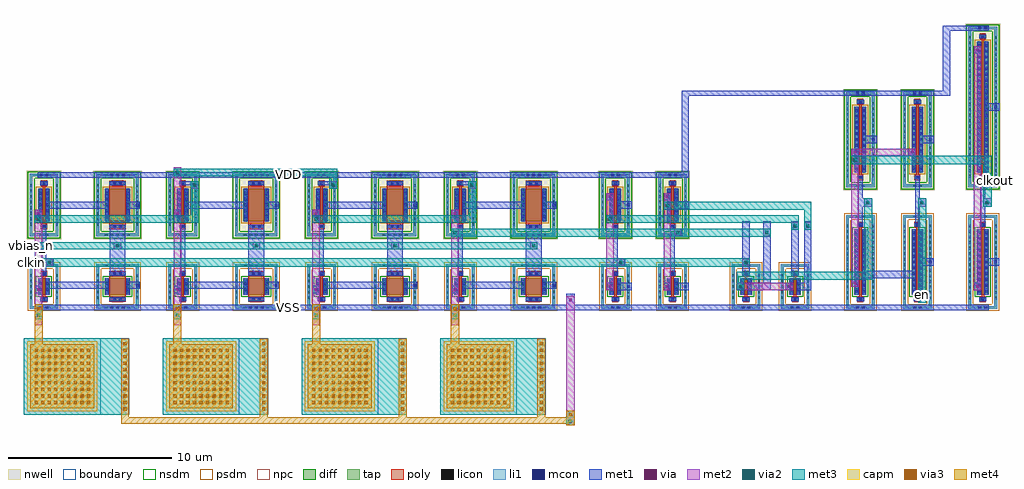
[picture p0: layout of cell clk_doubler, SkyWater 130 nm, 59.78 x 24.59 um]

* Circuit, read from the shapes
.subckt clk_doubler VDD VSS clkin clkout en vbias_n
XM1 cd_starved_inv_1/cd_n1_l1_1/D clkin cd_c40f_0/C1 VSS sky130_fd_pr__nfet_01v8 w=1 l=0.15
XM2 VSS vbias_n cd_starved_inv_1/cd_n1_l1_1/D VSS sky130_fd_pr__nfet_01v8 w=1 l=1
XM3 cd_starved_inv_3/cd_n1_l1_1/D cd_c40f_0/C1 cd_c40f_2/C1 VSS sky130_fd_pr__nfet_01v8 w=1 l=0.15
XM4 VSS vbias_n cd_starved_inv_3/cd_n1_l1_1/D VSS sky130_fd_pr__nfet_01v8 w=1 l=1
XM5 cd_starved_inv_5/cd_n1_l1_1/D cd_c40f_2/C1 cd_c40f_4/C1 VSS sky130_fd_pr__nfet_01v8 w=1 l=0.15
XM6 VSS vbias_n cd_starved_inv_5/cd_n1_l1_1/D VSS sky130_fd_pr__nfet_01v8 w=1 l=1
XM7 cd_starved_inv_7/cd_n1_l1_1/D cd_c40f_4/C1 cd_c40f_6/C1 VSS sky130_fd_pr__nfet_01v8 w=1 l=0.15
XM8 VSS vbias_n cd_starved_inv_7/cd_n1_l1_1/D VSS sky130_fd_pr__nfet_01v8 w=1 l=1
XM9 VSS clkin cd_tg2_10/gb VSS sky130_fd_pr__nfet_01v8 w=1 l=0.15
XM10 VSS cd_c40f_6/C1 cd_tg2_10/sb VSS sky130_fd_pr__nfet_01v8 w=1 l=0.15
XM11 cd_c40f_6/C1 clkin cd_nand2_11/a VSS sky130_fd_pr__nfet_01v8 w=1 l=0.15
XM12 cd_tg2_10/sb cd_tg2_10/gb cd_nand2_11/a VSS sky130_fd_pr__nfet_01v8 w=1 l=0.15
XM13 cd_nand2_11/cd_n4_l015_2/D cd_nand2_11/a cd_obuf_12/a VSS sky130_fd_pr__nfet_01v8 w=4 l=0.15
XM14 VSS en cd_nand2_11/cd_n4_l015_2/D VSS sky130_fd_pr__nfet_01v8 w=4 l=0.15
XM15 VSS cd_obuf_12/a clkout VSS sky130_fd_pr__nfet_01v8 w=4 l=0.15
XM16 cd_starved_inv_1/cd_p2_l1_0/D clkin cd_c40f_0/C1 VDD sky130_fd_pr__pfet_01v8 w=2 l=0.15
XM17 VDD vbias_n cd_starved_inv_1/cd_p2_l1_0/D VDD sky130_fd_pr__pfet_01v8 w=2 l=1
XM18 cd_starved_inv_3/cd_p2_l1_0/D cd_c40f_0/C1 cd_c40f_2/C1 VDD sky130_fd_pr__pfet_01v8 w=2 l=0.15
XM19 VDD vbias_n cd_starved_inv_3/cd_p2_l1_0/D VDD sky130_fd_pr__pfet_01v8 w=2 l=1
XM20 cd_starved_inv_5/cd_p2_l1_0/D cd_c40f_2/C1 cd_c40f_4/C1 VDD sky130_fd_pr__pfet_01v8 w=2 l=0.15
XM21 VDD vbias_n cd_starved_inv_5/cd_p2_l1_0/D VDD sky130_fd_pr__pfet_01v8 w=2 l=1
XM22 cd_starved_inv_7/cd_p2_l1_0/D cd_c40f_4/C1 cd_c40f_6/C1 VDD sky130_fd_pr__pfet_01v8 w=2 l=0.15
XM23 VDD vbias_n cd_starved_inv_7/cd_p2_l1_0/D VDD sky130_fd_pr__pfet_01v8 w=2 l=1
XM24 VDD clkin cd_tg2_10/gb VDD sky130_fd_pr__pfet_01v8 w=2 l=0.15
XM25 VDD cd_c40f_6/C1 cd_tg2_10/sb VDD sky130_fd_pr__pfet_01v8 w=2 l=0.15
XM26 VDD cd_nand2_11/a cd_obuf_12/a VDD sky130_fd_pr__pfet_01v8 w=4 l=0.15
XM27 VDD en cd_obuf_12/a VDD sky130_fd_pr__pfet_01v8 w=4 l=0.15
XM28 VDD cd_obuf_12/a clkout VDD sky130_fd_pr__pfet_01v8 w=8 l=0.15
XC29 cd_c40f_0/C1 VSS sky130_fd_pr__cap_mim_m3_1 w=4.29 l=4.29
XC30 cd_c40f_2/C1 VSS sky130_fd_pr__cap_mim_m3_1 w=4.29 l=4.29
XC31 cd_c40f_4/C1 VSS sky130_fd_pr__cap_mim_m3_1 w=4.29 l=4.29
XC32 cd_c40f_6/C1 VSS sky130_fd_pr__cap_mim_m3_1 w=4.29 l=4.29
.ends

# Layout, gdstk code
import gdstk
lib = gdstk.Library(unit=1e-6, precision=1e-09)
def R(c, l, rs):  # rectangles x0, y0, x1, y1
    for r in rs: c.add(gdstk.rectangle(r[:2], r[2:], *l))
def A(c, l, x, y, w, h, nx, ny, dx, dy):  # array of equal rectangles
    R(c, l, [(x+i*dx, y+j*dy, x+i*dx+w, y+j*dy+h) for i in range(nx) for j in range(ny)])
nwell = (64, 20)
diff = (65, 20)
tap = (65, 44)
poly = (66, 20)
licon = (66, 44)
li1 = (67, 20)
mcon = (67, 44)
met1 = (68, 20)
via = (68, 44)
met2 = (69, 20)
via2 = (69, 44)
met3 = (70, 20)
via3 = (70, 44)
met4 = (71, 20)
capm = (89, 44)
nsdm = (93, 44)
psdm = (94, 20)
npc = (95, 20)
boundary = (235, 4)

cd_c40f = lib.new_cell('cd_c40f')
R(cd_c40f, met3, [(-3.225,-2.345,3.225,2.345)])
A(cd_c40f, via3, 2.865, -2.1, 0.2, 0.2, 1, 11, 0, 0.4)
A(cd_c40f, via3, -2.58, -1.7, 0.2, 0.2, 9, 9, 0.4, 0.4)
R(cd_c40f, met4, [(2.725,-2.285,3.205,2.285), (-2.83,-1.95,1.07,1.95)])
R(cd_c40f, capm, [(-3.025,-2.145,1.265,2.145)])
R(cd_c40f, boundary, [(-3.225,-2.345,1.465,2.345)])
cd_c40f.add(gdstk.Label('C2', (2.965,0), layer=71, texttype=5))
cd_c40f.add(gdstk.Label('C1', (-0.88,0), layer=71, texttype=5))

cd_p2_l1 = lib.new_cell('cd_p2_l1')
R(cd_p2_l1, nwell, [(-1.48,-2.095,1.48,2.095)])
R(cd_p2_l1, diff, [(-0.79,-1,0.79,1)])
R(cd_p2_l1, tap, [(-1.3,-1.915,1.3,-1.745), (-1.3,-1.745,-1.13,1.745), (1.13,-1.745,1.3,1.745), (-1.3,1.745,1.3,1.915)])
R(cd_p2_l1, poly, [(-0.5,-1.485,0.5,1.485)])
A(cd_p2_l1, licon, -0.765, -1.915, 0.17, 0.17, 5, 2, 0.34, 3.66)
A(cd_p2_l1, licon, -1.3, -1.275, 0.17, 0.17, 1, 8, 0, 0.34)
A(cd_p2_l1, licon, 1.13, -1.275, 0.17, 0.17, 1, 8, 0, 0.34)
A(cd_p2_l1, licon, -0.73, -0.935, 0.17, 0.17, 1, 6, 0, 0.34)
A(cd_p2_l1, licon, 0.56, -0.935, 0.17, 0.17, 1, 6, 0, 0.34)
R(cd_p2_l1, licon, [(-0.255,-1.405,-0.085,-1.235), (0.085,-1.405,0.255,-1.235), (-0.255,1.235,-0.085,1.405), (0.085,1.235,0.255,1.405)])
R(cd_p2_l1, li1, [(-1.3,-1.915,1.3,-1.745), (-1.3,-1.745,-1.13,1.745), (1.13,-1.745,1.3,1.745), (-0.5,-1.405,0.5,-1.235), (-0.73,-1.02,-0.56,1.02), (0.56,-1.02,0.73,1.02), (-0.5,1.235,0.5,1.405), (-1.3,1.745,1.3,1.915)])
A(cd_p2_l1, mcon, -0.73, -0.805, 0.17, 0.17, 1, 5, 0, 0.36)
A(cd_p2_l1, mcon, 0.56, -0.805, 0.17, 0.17, 1, 5, 0, 0.36)
R(cd_p2_l1, mcon, [(-0.265,-1.405,-0.095,-1.235), (0.095,-1.405,0.265,-1.235), (-0.265,1.235,-0.095,1.405), (0.095,1.235,0.265,1.405)])
R(cd_p2_l1, met1, [(-0.48,-1.435,0.48,-1.205), (-0.76,-1,-0.53,1), (0.53,-1,0.76,1), (-0.48,1.205,0.48,1.435)])
R(cd_p2_l1, nsdm, [(-1.425,-2.04,1.425,-1.62), (-1.425,-1.62,-1.005,1.62), (1.005,-1.62,1.425,1.62), (-1.425,1.62,1.425,2.04)])
R(cd_p2_l1, psdm, [(-0.915,-1.125,0.915,1.125)])
R(cd_p2_l1, npc, [(-0.355,-1.505,0.355,-1.135), (-0.355,1.135,0.355,1.505)])
R(cd_p2_l1, boundary, [(-1.215,-1.83,1.215,1.83)])
cd_p2_l1.add(gdstk.Label('B', (0,-1.83), layer=67, texttype=5))
cd_p2_l1.add(gdstk.Label('D', (-0.645,0), layer=67, texttype=5))
cd_p2_l1.add(gdstk.Label('S', (0.645,0), layer=67, texttype=5))
cd_p2_l1.add(gdstk.Label('G', (0,1.32), layer=67, texttype=5))

cd_n1_l1 = lib.new_cell('cd_n1_l1')
R(cd_n1_l1, diff, [(-0.79,-0.5,0.79,0.5)])
R(cd_n1_l1, tap, [(-1.3,-1.37,1.3,-1.2), (-1.3,-1.2,-1.13,1.2), (1.13,-1.2,1.3,1.2), (-1.3,1.2,1.3,1.37)])
R(cd_n1_l1, poly, [(-0.5,-0.94,0.5,0.94)])
A(cd_n1_l1, licon, -0.765, -1.37, 0.17, 0.17, 5, 2, 0.34, 2.57)
A(cd_n1_l1, licon, -1.3, -0.765, 0.17, 0.17, 1, 5, 0, 0.34)
A(cd_n1_l1, licon, 1.13, -0.765, 0.17, 0.17, 1, 5, 0, 0.34)
A(cd_n1_l1, licon, -0.73, -0.425, 0.17, 0.17, 1, 3, 0, 0.34)
A(cd_n1_l1, licon, 0.56, -0.425, 0.17, 0.17, 1, 3, 0, 0.34)
R(cd_n1_l1, licon, [(-0.255,-0.86,-0.085,-0.69), (0.085,-0.86,0.255,-0.69), (-0.255,0.69,-0.085,0.86), (0.085,0.69,0.255,0.86)])
R(cd_n1_l1, li1, [(-1.3,-1.37,1.3,-1.2), (-1.3,-1.2,-1.13,1.2), (1.13,-1.2,1.3,1.2), (-0.5,-0.86,0.5,-0.69), (-0.73,-0.52,-0.56,0.52), (0.56,-0.52,0.73,0.52), (-0.5,0.69,0.5,0.86), (-1.3,1.2,1.3,1.37)])
R(cd_n1_l1, mcon, [(-0.265,-0.86,-0.095,-0.69), (0.095,-0.86,0.265,-0.69), (-0.73,-0.265,-0.56,-0.095), (0.56,-0.265,0.73,-0.095), (-0.73,0.095,-0.56,0.265), (0.56,0.095,0.73,0.265), (-0.265,0.69,-0.095,0.86), (0.095,0.69,0.265,0.86)])
R(cd_n1_l1, met1, [(-0.48,-0.89,0.48,-0.66), (-0.76,-0.5,-0.53,0.5), (0.53,-0.5,0.76,0.5), (-0.48,0.66,0.48,0.89)])
R(cd_n1_l1, nsdm, [(-0.915,-0.625,0.915,0.625)])
R(cd_n1_l1, psdm, [(-1.425,-1.495,1.425,-1.075), (-1.425,-1.075,-1.005,1.075), (1.005,-1.075,1.425,1.075), (-1.425,1.075,1.425,1.495)])
R(cd_n1_l1, npc, [(-0.355,-0.96,0.355,-0.59), (-0.355,0.59,0.355,0.96)])
R(cd_n1_l1, boundary, [(-1.215,-1.285,1.215,1.285)])
cd_n1_l1.add(gdstk.Label('B', (0,-1.285), layer=67, texttype=5))
cd_n1_l1.add(gdstk.Label('D', (-0.645,0), layer=67, texttype=5))
cd_n1_l1.add(gdstk.Label('S', (0.645,0), layer=67, texttype=5))
cd_n1_l1.add(gdstk.Label('G', (0,0.775), layer=67, texttype=5))

cd_n1_l015 = lib.new_cell('cd_n1_l015')
R(cd_n1_l015, diff, [(-0.365,-0.5,0.365,0.5)])
R(cd_n1_l015, tap, [(-0.875,-1.37,0.875,-1.2), (-0.875,-1.2,-0.705,1.2), (0.705,-1.2,0.875,1.2), (-0.875,1.2,0.875,1.37)])
R(cd_n1_l015, poly, [(-0.165,-0.94,0.165,-0.61), (-0.075,-0.61,0.075,0.61), (-0.165,0.61,0.165,0.94)])
A(cd_n1_l015, licon, -0.875, -0.765, 0.17, 0.17, 1, 5, 0, 0.34)
A(cd_n1_l015, licon, 0.705, -0.765, 0.17, 0.17, 1, 5, 0, 0.34)
A(cd_n1_l015, licon, -0.305, -0.425, 0.17, 0.17, 1, 3, 0, 0.34)
A(cd_n1_l015, licon, 0.135, -0.425, 0.17, 0.17, 1, 3, 0, 0.34)
R(cd_n1_l015, licon, [(-0.255,-1.37,-0.085,-1.2), (0.085,-1.37,0.255,-1.2), (-0.085,-0.86,0.085,-0.69), (-0.085,0.69,0.085,0.86), (-0.255,1.2,-0.085,1.37), (0.085,1.2,0.255,1.37)])
R(cd_n1_l015, li1, [(-0.875,-1.37,0.875,-1.2), (-0.875,-1.2,-0.705,1.2), (0.705,-1.2,0.875,1.2), (-0.165,-0.86,0.165,-0.69), (-0.305,-0.52,-0.135,0.52), (0.135,-0.52,0.305,0.52), (-0.165,0.69,0.165,0.86), (-0.875,1.2,0.875,1.37)])
R(cd_n1_l015, mcon, [(-0.085,-0.86,0.085,-0.69), (-0.305,-0.265,-0.135,-0.095), (0.135,-0.265,0.305,-0.095), (-0.305,0.095,-0.135,0.265), (0.135,0.095,0.305,0.265), (-0.085,0.69,0.085,0.86)])
R(cd_n1_l015, met1, [(-0.145,-0.89,0.145,-0.66), (-0.335,-0.5,-0.105,0.5), (0.105,-0.5,0.335,0.5), (-0.145,0.66,0.145,0.89)])
R(cd_n1_l015, nsdm, [(-0.49,-0.625,0.49,0.625)])
R(cd_n1_l015, psdm, [(-1,-1.495,1,-1.075), (-1,-1.075,-0.58,1.075), (0.58,-1.075,1,1.075), (-1,1.075,1,1.495)])
R(cd_n1_l015, npc, [(-0.185,-0.96,0.185,-0.59), (-0.185,0.59,0.185,0.96)])
R(cd_n1_l015, boundary, [(-0.79,-1.285,0.79,1.285)])
cd_n1_l015.add(gdstk.Label('B', (0,-1.285), layer=67, texttype=5))
cd_n1_l015.add(gdstk.Label('D', (-0.22,0), layer=67, texttype=5))
cd_n1_l015.add(gdstk.Label('S', (0.22,0), layer=67, texttype=5))
cd_n1_l015.add(gdstk.Label('G', (0,0.775), layer=67, texttype=5))

cd_p2_l015 = lib.new_cell('cd_p2_l015')
R(cd_p2_l015, nwell, [(-1.055,-2.095,1.055,2.095)])
R(cd_p2_l015, diff, [(-0.365,-1,0.365,1)])
R(cd_p2_l015, tap, [(-0.875,-1.915,0.875,-1.745), (-0.875,-1.745,-0.705,1.745), (0.705,-1.745,0.875,1.745), (-0.875,1.745,0.875,1.915)])
R(cd_p2_l015, poly, [(-0.165,-1.485,0.165,-1.155), (-0.075,-1.155,0.075,1.155), (-0.165,1.155,0.165,1.485)])
A(cd_p2_l015, licon, -0.875, -1.275, 0.17, 0.17, 1, 8, 0, 0.34)
A(cd_p2_l015, licon, 0.705, -1.275, 0.17, 0.17, 1, 8, 0, 0.34)
A(cd_p2_l015, licon, -0.305, -0.935, 0.17, 0.17, 1, 6, 0, 0.34)
A(cd_p2_l015, licon, 0.135, -0.935, 0.17, 0.17, 1, 6, 0, 0.34)
R(cd_p2_l015, licon, [(-0.255,-1.915,-0.085,-1.745), (0.085,-1.915,0.255,-1.745), (-0.085,-1.405,0.085,-1.235), (-0.085,1.235,0.085,1.405), (-0.255,1.745,-0.085,1.915), (0.085,1.745,0.255,1.915)])
R(cd_p2_l015, li1, [(-0.875,-1.915,0.875,-1.745), (-0.875,-1.745,-0.705,1.745), (0.705,-1.745,0.875,1.745), (-0.165,-1.405,0.165,-1.235), (-0.305,-1.02,-0.135,1.02), (0.135,-1.02,0.305,1.02), (-0.165,1.235,0.165,1.405), (-0.875,1.745,0.875,1.915)])
A(cd_p2_l015, mcon, -0.305, -0.805, 0.17, 0.17, 1, 5, 0, 0.36)
A(cd_p2_l015, mcon, 0.135, -0.805, 0.17, 0.17, 1, 5, 0, 0.36)
R(cd_p2_l015, mcon, [(-0.085,-1.405,0.085,-1.235), (-0.085,1.235,0.085,1.405)])
R(cd_p2_l015, met1, [(-0.145,-1.435,0.145,-1.205), (-0.335,-1,-0.105,1), (0.105,-1,0.335,1), (-0.145,1.205,0.145,1.435)])
R(cd_p2_l015, nsdm, [(-1,-2.04,1,-1.62), (-1,-1.62,-0.58,1.62), (0.58,-1.62,1,1.62), (-1,1.62,1,2.04)])
R(cd_p2_l015, psdm, [(-0.49,-1.125,0.49,1.125)])
R(cd_p2_l015, npc, [(-0.185,-1.505,0.185,-1.135), (-0.185,1.135,0.185,1.505)])
R(cd_p2_l015, boundary, [(-0.79,-1.83,0.79,1.83)])
cd_p2_l015.add(gdstk.Label('B', (0,-1.83), layer=67, texttype=5))
cd_p2_l015.add(gdstk.Label('D', (-0.22,0), layer=67, texttype=5))
cd_p2_l015.add(gdstk.Label('S', (0.22,0), layer=67, texttype=5))
cd_p2_l015.add(gdstk.Label('G', (0,1.32), layer=67, texttype=5))

cd_starved_inv = lib.new_cell('cd_starved_inv')
R(cd_starved_inv, li1, [(-0.3,3.13,0.3,3.3), (4,3.13,5,3.3), (5.63,4.435,5.8,4.715), (5.63,9.335,5.8,9.615), (-0.3,11.245,0.3,11.415), (4,11.245,5,11.415)])
A(cd_starved_inv, mcon, 4.055, 3.13, 0.17, 0.17, 3, 2, 0.36, 8.115)
R(cd_starved_inv, mcon, [(-0.265,3.13,-0.095,3.3), (0.095,3.13,0.265,3.3), (5.63,4.49,5.8,4.66), (5.63,9.39,5.8,9.56), (-0.265,11.245,-0.095,11.415), (0.095,11.245,0.265,11.415)])
R(cd_starved_inv, met1, [(-0.37,3.06,5.07,3.37), (-0.225,3.61,0.225,3.84), (-0.555,4.1,-0.105,4.55), (0.335,4.35,3.74,4.8), (5.03,4.35,5.87,4.8), (-0.145,5.16,0.145,8.295), (4.02,5.16,4.98,8.295), (-0.555,8.75,-0.105,9.2), (0.335,9.25,3.74,9.7), (5.03,9.25,5.87,9.7), (-0.225,10.705,0.225,10.935), (-0.37,11.175,5.07,11.485)])
R(cd_starved_inv, via, [(-0.405,4.25,-0.255,4.4), (-0.405,8.9,-0.255,9.05)])
R(cd_starved_inv, met2, [(-0.555,4.1,-0.105,9.2)])
cd_starved_inv.add(gdstk.Reference(cd_p2_l1, (4.5,9.5)))
cd_starved_inv.add(gdstk.Reference(cd_n1_l1, (4.5,4.5)))
cd_starved_inv.add(gdstk.Reference(cd_n1_l015, (0,4.5)))
cd_starved_inv.add(gdstk.Reference(cd_p2_l015, (0,9.5)))
cd_starved_inv.add(gdstk.Label('a', (0,6.5), layer=68, texttype=5))
cd_starved_inv.add(gdstk.Label('y', (-0.33,6.5), layer=69, texttype=5))
cd_starved_inv.add(gdstk.Label('vbn', (4.5,6.5), layer=68, texttype=5))
cd_starved_inv.add(gdstk.Label('VDD', (2,11.33), layer=68, texttype=5))
cd_starved_inv.add(gdstk.Label('VSS', (2,3.215), layer=68, texttype=5))

cd_inv = lib.new_cell('cd_inv')
R(cd_inv, li1, [(-0.3,3.13,0.3,3.3), (0.705,4.36,0.875,4.64), (0.705,9.36,0.875,9.64), (-0.3,11.245,0.3,11.415)])
R(cd_inv, mcon, [(-0.265,3.13,-0.095,3.3), (0.095,3.13,0.265,3.3), (0.705,4.415,0.875,4.585), (0.705,9.415,0.875,9.585), (-0.265,11.245,-0.095,11.415), (0.095,11.245,0.265,11.415)])
R(cd_inv, met1, [(-0.37,3.06,0.37,3.37), (-0.225,3.61,0.225,3.84), (-0.555,4.275,-0.105,4.725), (0.105,4.275,1,4.725), (-0.145,5.16,0.145,8.295), (0.105,9.275,1,9.725), (-0.555,9.775,-0.105,10.225), (-0.225,10.705,0.225,10.935), (-0.37,11.175,0.37,11.485)])
R(cd_inv, via, [(-0.405,4.425,-0.255,4.575), (-0.405,9.925,-0.255,10.075)])
R(cd_inv, met2, [(-0.555,4.275,-0.105,10.225)])
cd_inv.add(gdstk.Reference(cd_p2_l015, (0,9.5)))
cd_inv.add(gdstk.Reference(cd_n1_l015, (0,4.5)))
cd_inv.add(gdstk.Label('a', (0,6.725), layer=68, texttype=5))
cd_inv.add(gdstk.Label('y', (-0.33,7.25), layer=69, texttype=5))
cd_inv.add(gdstk.Label('VDD', (0,11.33), layer=68, texttype=5))
cd_inv.add(gdstk.Label('VSS', (0,3.215), layer=68, texttype=5))

cd_tg2 = lib.new_cell('cd_tg2')
R(cd_tg2, li1, [(-0.3,3.13,0.3,3.3), (2.7,3.13,3.3,3.3)])
R(cd_tg2, mcon, [(-0.265,3.13,-0.095,3.3), (0.095,3.13,0.265,3.3), (2.735,3.13,2.905,3.3), (3.095,3.13,3.265,3.3)])
R(cd_tg2, met1, [(-0.37,3.06,3.395,3.37), (-0.225,3.61,0.225,3.84), (2.775,3.61,3.225,3.84), (-0.555,4.275,-0.105,4.725), (0.105,4.275,1.5,4.725), (2.445,4.275,2.895,4.725), (3.105,4.275,4,4.725), (1.05,4.725,1.5,8.5), (3.55,4.725,4,8.5), (-0.225,5.16,0.225,8.5), (2.775,5.16,3.225,8.5)])
R(cd_tg2, via, [(-0.405,4.425,-0.255,4.575), (2.595,4.425,2.745,4.575)])
R(cd_tg2, met2, [(-0.555,4.275,2.895,4.725)])
cd_tg2.add(gdstk.Reference(cd_n1_l015, (0,4.5)))
cd_tg2.add(gdstk.Reference(cd_n1_l015, (3,4.5)))
cd_tg2.add(gdstk.Label('ga', (0,7.75), layer=68, texttype=5))
cd_tg2.add(gdstk.Label('gb', (3,7.75), layer=68, texttype=5))
cd_tg2.add(gdstk.Label('y', (-0.33,4.5), layer=69, texttype=5))
cd_tg2.add(gdstk.Label('sa', (1.275,7.75), layer=68, texttype=5))
cd_tg2.add(gdstk.Label('sb', (3.775,7.75), layer=68, texttype=5))
cd_tg2.add(gdstk.Label('VSS', (1.5,3.215), layer=68, texttype=5))

cd_p4_l015 = lib.new_cell('cd_p4_l015')
R(cd_p4_l015, nwell, [(-1.055,-3.095,1.055,3.095)])
R(cd_p4_l015, diff, [(-0.365,-2,0.365,2)])
R(cd_p4_l015, tap, [(-0.875,-2.915,0.875,-2.745), (-0.875,-2.745,-0.705,2.745), (0.705,-2.745,0.875,2.745), (-0.875,2.745,0.875,2.915)])
R(cd_p4_l015, poly, [(-0.165,-2.485,0.165,-2.155), (-0.075,-2.155,0.075,2.155), (-0.165,2.155,0.165,2.485)])
A(cd_p4_l015, licon, -0.875, -2.295, 0.17, 0.17, 1, 14, 0, 0.34)
A(cd_p4_l015, licon, 0.705, -2.295, 0.17, 0.17, 1, 14, 0, 0.34)
A(cd_p4_l015, licon, -0.305, -1.785, 0.17, 0.17, 1, 11, 0, 0.34)
A(cd_p4_l015, licon, 0.135, -1.785, 0.17, 0.17, 1, 11, 0, 0.34)
R(cd_p4_l015, licon, [(-0.255,-2.915,-0.085,-2.745), (0.085,-2.915,0.255,-2.745), (-0.085,-2.405,0.085,-2.235), (-0.085,2.235,0.085,2.405), (-0.255,2.745,-0.085,2.915), (0.085,2.745,0.255,2.915)])
R(cd_p4_l015, li1, [(-0.875,-2.915,0.875,-2.745), (-0.875,-2.745,-0.705,2.745), (0.705,-2.745,0.875,2.745), (-0.165,-2.405,0.165,-2.235), (-0.305,-2.02,-0.135,2.02), (0.135,-2.02,0.305,2.02), (-0.165,2.235,0.165,2.405), (-0.875,2.745,0.875,2.915)])
A(cd_p4_l015, mcon, -0.305, -1.885, 0.17, 0.17, 1, 11, 0, 0.36)
A(cd_p4_l015, mcon, 0.135, -1.885, 0.17, 0.17, 1, 11, 0, 0.36)
R(cd_p4_l015, mcon, [(-0.085,-2.405,0.085,-2.235), (-0.085,2.235,0.085,2.405)])
R(cd_p4_l015, met1, [(-0.145,-2.435,0.145,-2.205), (-0.335,-2,-0.105,2), (0.105,-2,0.335,2), (-0.145,2.205,0.145,2.435)])
R(cd_p4_l015, nsdm, [(-1,-3.04,1,-2.62), (-1,-2.62,-0.58,2.62), (0.58,-2.62,1,2.62), (-1,2.62,1,3.04)])
R(cd_p4_l015, psdm, [(-0.49,-2.125,0.49,2.125)])
R(cd_p4_l015, npc, [(-0.185,-2.505,0.185,-2.135), (-0.185,2.135,0.185,2.505)])
R(cd_p4_l015, boundary, [(-0.79,-2.83,0.79,2.83)])
cd_p4_l015.add(gdstk.Label('B', (0,-2.83), layer=67, texttype=5))
cd_p4_l015.add(gdstk.Label('D', (-0.22,0), layer=67, texttype=5))
cd_p4_l015.add(gdstk.Label('S', (0.22,0), layer=67, texttype=5))
cd_p4_l015.add(gdstk.Label('G', (0,2.32), layer=67, texttype=5))

cd_n4_l015 = lib.new_cell('cd_n4_l015')
R(cd_n4_l015, diff, [(-0.365,-2,0.365,2)])
R(cd_n4_l015, tap, [(-0.875,-2.87,0.875,-2.7), (-0.875,-2.7,-0.705,2.7), (0.705,-2.7,0.875,2.7), (-0.875,2.7,0.875,2.87)])
R(cd_n4_l015, poly, [(-0.165,-2.44,0.165,-2.11), (-0.075,-2.11,0.075,2.11), (-0.165,2.11,0.165,2.44)])
A(cd_n4_l015, licon, -0.875, -2.295, 0.17, 0.17, 1, 14, 0, 0.34)
A(cd_n4_l015, licon, 0.705, -2.295, 0.17, 0.17, 1, 14, 0, 0.34)
A(cd_n4_l015, licon, -0.305, -1.785, 0.17, 0.17, 1, 11, 0, 0.34)
A(cd_n4_l015, licon, 0.135, -1.785, 0.17, 0.17, 1, 11, 0, 0.34)
R(cd_n4_l015, licon, [(-0.255,-2.87,-0.085,-2.7), (0.085,-2.87,0.255,-2.7), (-0.085,-2.36,0.085,-2.19), (-0.085,2.19,0.085,2.36), (-0.255,2.7,-0.085,2.87), (0.085,2.7,0.255,2.87)])
R(cd_n4_l015, li1, [(-0.875,-2.87,0.875,-2.7), (-0.875,-2.7,-0.705,2.7), (0.705,-2.7,0.875,2.7), (-0.165,-2.36,0.165,-2.19), (-0.305,-2.02,-0.135,2.02), (0.135,-2.02,0.305,2.02), (-0.165,2.19,0.165,2.36), (-0.875,2.7,0.875,2.87)])
A(cd_n4_l015, mcon, -0.305, -1.885, 0.17, 0.17, 1, 11, 0, 0.36)
A(cd_n4_l015, mcon, 0.135, -1.885, 0.17, 0.17, 1, 11, 0, 0.36)
R(cd_n4_l015, mcon, [(-0.085,-2.36,0.085,-2.19), (-0.085,2.19,0.085,2.36)])
R(cd_n4_l015, met1, [(-0.145,-2.39,0.145,-2.16), (-0.335,-2,-0.105,2), (0.105,-2,0.335,2), (-0.145,2.16,0.145,2.39)])
R(cd_n4_l015, nsdm, [(-0.49,-2.125,0.49,2.125)])
R(cd_n4_l015, psdm, [(-1,-2.995,1,-2.575), (-1,-2.575,-0.58,2.575), (0.58,-2.575,1,2.575), (-1,2.575,1,2.995)])
R(cd_n4_l015, npc, [(-0.185,-2.46,0.185,-2.09), (-0.185,2.09,0.185,2.46)])
R(cd_n4_l015, boundary, [(-0.79,-2.785,0.79,2.785)])
cd_n4_l015.add(gdstk.Label('B', (0,-2.785), layer=67, texttype=5))
cd_n4_l015.add(gdstk.Label('D', (-0.22,0), layer=67, texttype=5))
cd_n4_l015.add(gdstk.Label('S', (0.22,0), layer=67, texttype=5))
cd_n4_l015.add(gdstk.Label('G', (0,2.275), layer=67, texttype=5))

cd_nand2 = lib.new_cell('cd_nand2')
R(cd_nand2, li1, [(-0.3,3.13,0.3,3.3), (3.2,3.13,3.8,3.3), (4.205,5.86,4.375,6.14), (0.705,13.36,0.875,13.64), (4.205,13.36,4.375,13.64), (-0.3,16.245,0.3,16.415), (3.2,16.245,3.8,16.415)])
R(cd_nand2, mcon, [(-0.265,3.13,-0.095,3.3), (0.095,3.13,0.265,3.3), (3.235,3.13,3.405,3.3), (3.595,3.13,3.765,3.3), (4.205,5.915,4.375,6.085), (0.705,13.415,0.875,13.585), (4.205,13.415,4.375,13.585), (-0.265,16.245,-0.095,16.415), (0.095,16.245,0.265,16.415), (3.235,16.245,3.405,16.415), (3.595,16.245,3.765,16.415)])
R(cd_nand2, met1, [(-0.37,3.06,3.87,3.37), (-0.225,3.61,0.225,3.84), (3.275,3.61,3.725,3.84), (-0.555,4.5,-0.105,4.95), (0.105,5,3.395,5.45), (3.605,5.775,4.5,6.225), (-0.145,8.16,0.145,11.295), (3.355,8.16,3.645,11.295), (-0.555,12.5,-0.105,12.95), (2.945,12.5,3.395,12.95), (0.105,13.275,1,13.725), (3.605,13.275,4.5,13.725), (-0.225,15.705,0.225,15.935), (3.275,15.705,3.725,15.935), (-0.37,16.175,3.87,16.485)])
R(cd_nand2, via, [(-0.405,4.65,-0.255,4.8), (-0.405,12.65,-0.255,12.8), (3.095,12.65,3.245,12.8)])
R(cd_nand2, met2, [(-0.555,4.5,-0.105,12.5), (-0.555,12.5,3.395,12.95)])
cd_nand2.add(gdstk.Reference(cd_p4_l015, (0,13.5)))
cd_nand2.add(gdstk.Reference(cd_p4_l015, (3.5,13.5)))
cd_nand2.add(gdstk.Reference(cd_n4_l015, (3.5,6)))
cd_nand2.add(gdstk.Reference(cd_n4_l015, (0,6)))
cd_nand2.add(gdstk.Label('a', (0,9.725), layer=68, texttype=5))
cd_nand2.add(gdstk.Label('b', (3.5,9.725), layer=68, texttype=5))
cd_nand2.add(gdstk.Label('y', (-0.33,7.5), layer=69, texttype=5))
cd_nand2.add(gdstk.Label('VDD', (1.75,16.33), layer=68, texttype=5))
cd_nand2.add(gdstk.Label('VSS', (1.75,3.215), layer=68, texttype=5))

cd_p8_l015 = lib.new_cell('cd_p8_l015')
R(cd_p8_l015, nwell, [(-1.055,-5.095,1.055,5.095)])
R(cd_p8_l015, diff, [(-0.365,-4,0.365,4)])
R(cd_p8_l015, tap, [(-0.875,-4.915,0.875,-4.745), (-0.875,-4.745,-0.705,4.745), (0.705,-4.745,0.875,4.745), (-0.875,4.745,0.875,4.915)])
R(cd_p8_l015, poly, [(-0.165,-4.485,0.165,-4.155), (-0.075,-4.155,0.075,4.155), (-0.165,4.155,0.165,4.485)])
A(cd_p8_l015, licon, -0.875, -4.335, 0.17, 0.17, 1, 26, 0, 0.34)
A(cd_p8_l015, licon, 0.705, -4.335, 0.17, 0.17, 1, 26, 0, 0.34)
A(cd_p8_l015, licon, -0.305, -3.825, 0.17, 0.17, 1, 23, 0, 0.34)
A(cd_p8_l015, licon, 0.135, -3.825, 0.17, 0.17, 1, 23, 0, 0.34)
R(cd_p8_l015, licon, [(-0.255,-4.915,-0.085,-4.745), (0.085,-4.915,0.255,-4.745), (-0.085,-4.405,0.085,-4.235), (-0.085,4.235,0.085,4.405), (-0.255,4.745,-0.085,4.915), (0.085,4.745,0.255,4.915)])
R(cd_p8_l015, li1, [(-0.875,-4.915,0.875,-4.745), (-0.875,-4.745,-0.705,4.745), (0.705,-4.745,0.875,4.745), (-0.165,-4.405,0.165,-4.235), (-0.305,-4.02,-0.135,4.02), (0.135,-4.02,0.305,4.02), (-0.165,4.235,0.165,4.405), (-0.875,4.745,0.875,4.915)])
A(cd_p8_l015, mcon, -0.305, -3.865, 0.17, 0.17, 1, 22, 0, 0.36)
A(cd_p8_l015, mcon, 0.135, -3.865, 0.17, 0.17, 1, 22, 0, 0.36)
R(cd_p8_l015, mcon, [(-0.085,-4.405,0.085,-4.235), (-0.085,4.235,0.085,4.405)])
R(cd_p8_l015, met1, [(-0.145,-4.435,0.145,-4.205), (-0.335,-4,-0.105,4), (0.105,-4,0.335,4), (-0.145,4.205,0.145,4.435)])
R(cd_p8_l015, nsdm, [(-1,-5.04,1,-4.62), (-1,-4.62,-0.58,4.62), (0.58,-4.62,1,4.62), (-1,4.62,1,5.04)])
R(cd_p8_l015, psdm, [(-0.49,-4.125,0.49,4.125)])
R(cd_p8_l015, npc, [(-0.185,-4.505,0.185,-4.135), (-0.185,4.135,0.185,4.505)])
R(cd_p8_l015, boundary, [(-0.79,-4.83,0.79,4.83)])
cd_p8_l015.add(gdstk.Label('B', (0,-4.83), layer=67, texttype=5))
cd_p8_l015.add(gdstk.Label('D', (-0.22,0), layer=67, texttype=5))
cd_p8_l015.add(gdstk.Label('S', (0.22,0), layer=67, texttype=5))
cd_p8_l015.add(gdstk.Label('G', (0,4.32), layer=67, texttype=5))

cd_obuf = lib.new_cell('cd_obuf')
R(cd_obuf, li1, [(-0.3,3.13,0.3,3.3), (0.705,5.86,0.875,6.14), (0.705,15.36,0.875,15.64), (-0.3,20.245,0.3,20.415)])
R(cd_obuf, mcon, [(-0.265,3.13,-0.095,3.3), (0.095,3.13,0.265,3.3), (0.705,5.915,0.875,6.085), (0.705,15.415,0.875,15.585), (-0.265,20.245,-0.095,20.415), (0.095,20.245,0.265,20.415)])
R(cd_obuf, met1, [(-0.37,3.06,0.37,3.37), (-0.225,3.61,0.225,3.84), (-0.555,4.275,-0.105,4.725), (0.105,5.775,1,6.225), (-0.145,8.16,0.145,11.295), (0.105,15.275,1,15.725), (-0.555,18.775,-0.105,19.225), (-0.225,19.705,0.225,19.935), (-0.37,20.175,0.37,20.485)])
R(cd_obuf, via, [(-0.405,4.425,-0.255,4.575), (-0.405,18.925,-0.255,19.075)])
R(cd_obuf, met2, [(-0.555,4.275,-0.105,19.225)])
cd_obuf.add(gdstk.Reference(cd_p8_l015, (0,15.5)))
cd_obuf.add(gdstk.Reference(cd_n4_l015, (0,6)))
cd_obuf.add(gdstk.Label('a', (0,9.725), layer=68, texttype=5))
cd_obuf.add(gdstk.Label('y', (-0.33,11.75), layer=69, texttype=5))
cd_obuf.add(gdstk.Label('VDD', (0,20.33), layer=68, texttype=5))
cd_obuf.add(gdstk.Label('VSS', (0,3.215), layer=68, texttype=5))

clk_doubler = lib.new_cell('clk_doubler')
A(clk_doubler, met1, 4.35, 6.85, 0.3, 0.3, 4, 1, 8.5, 0)
A(clk_doubler, met1, 8.975, 10.485, 0.5, 0.22, 3, 1, 8.5, 0)
A(clk_doubler, met1, 8.275, 10.705, 1.2, 0.23, 3, 1, 8.5, 0)
R(clk_doubler, met1, [(-0.37,3.06,57.87,3.37), (32,3.37,32.5,4.06), (0.095,5.75,0.595,6.2), (35.095,5.75,35.595,6.2), (42.85,5.825,43.15,6.125), (38.595,7.575,39.095,8.025), (44.125,7.65,44.425,7.95), (45.85,8.05,46.15,8.35), (46.625,8.05,46.925,8.35), (49.855,9.4,50.735,9.9), (53.355,9.4,54.035,9.9), (57.355,9.4,58.035,9.9), (-0.37,11.175,39.5,11.485), (39.05,11.485,39.5,16.175), (39.05,16.175,49.8,16.485), (53.7,16.175,55.5,16.485), (55.05,16.485,55.5,20.175), (55.05,20.175,57.3,20.485)])
A(clk_doubler, via, 4.425, 6.925, 0.15, 0.15, 4, 1, 8.5, 0)
A(clk_doubler, via, 9.125, 10.635, 0.15, 0.15, 3, 1, 8.5, 0)
R(clk_doubler, via, [(32.175,3.6,32.325,3.75), (0.245,5.9,0.395,6.05), (35.245,5.9,35.395,6.05), (42.925,5.9,43.075,6.05), (38.745,7.725,38.895,7.875), (44.2,7.725,44.35,7.875), (45.925,8.125,46.075,8.275), (46.7,8.125,46.85,8.275), (50.385,9.55,50.535,9.7), (53.685,9.55,53.835,9.7), (57.685,9.55,57.835,9.7)])
A(clk_doubler, met2, -0.555, 2.125, 0.45, 1.975, 4, 1, 8.5, 0)
A(clk_doubler, met2, 4.275, 6.775, 0.45, 0.45, 4, 1, 8.5, 0)
A(clk_doubler, met2, 8.975, 10.485, 0.5, 0.45, 3, 1, 8.5, 0)
R(clk_doubler, met2, [(32,-4,32.5,3.925), (42.53,4.36,42.81,4.64), (0.095,5.75,0.545,6.2), (35.095,5.75,35.545,6.2), (42.775,5.75,43.225,6.2), (38.595,7.575,39.045,8.025), (44.05,7.575,44.5,8.025), (25.03,7.66,25.31,7.94), (45.775,7.975,46.225,8.425), (46.55,7.975,47,8.425), (-0.47,8.5,-0.19,8.78), (16.53,8.5,16.81,8.78), (34.53,8.5,34.81,8.78), (7.945,9.2,8.395,11.8), (37.945,9.2,38.395,9.8), (50.235,9.4,50.735,9.9), (53.535,9.4,54.035,9.9), (57.535,9.4,58.035,9.9), (56.945,10.75,58.5,11.2), (49.53,12.11,49.81,12.39)])
A(clk_doubler, via2, -0.43, 2.64, 0.2, 0.2, 4, 1, 8.5, 0)
A(clk_doubler, via2, 4.4, 6.9, 0.2, 0.2, 4, 1, 8.5, 0)
A(clk_doubler, via2, 9.1, 10.61, 0.2, 0.2, 3, 1, 8.5, 0)
R(clk_doubler, via2, [(32.125,-3.875,32.325,-3.675), (42.57,4.4,42.77,4.6), (0.22,5.875,0.42,6.075), (35.22,5.875,35.42,6.075), (42.9,5.875,43.1,6.075), (25.07,7.7,25.27,7.9), (38.72,7.7,38.92,7.9), (44.175,7.7,44.375,7.9), (45.9,8.1,46.1,8.3), (46.675,8.1,46.875,8.3), (-0.43,8.54,-0.23,8.74), (16.57,8.54,16.77,8.74), (34.57,8.54,34.77,8.74), (38.07,9.35,38.27,9.55), (50.36,9.525,50.56,9.725), (53.66,9.525,53.86,9.725), (57.66,9.525,57.86,9.725), (8.07,11.375,8.27,11.575), (49.57,12.15,49.77,12.35)])
A(clk_doubler, met3, -0.58, 2.5, 0.5, 0.9, 4, 1, 8.5, 0)
R(clk_doubler, met3, [(32,-4,32.5,-3.1), (53.535,3.5,54.035,9.9), (42.445,4.275,42.895,4.9), (42.445,4.9,50.735,5.4), (50.235,5.4,50.735,9.9), (-1,5.725,43.225,6.225), (-1,6.775,30.225,7.225), (24.945,7.55,44.5,8.05), (45.775,7.975,46.225,8.415), (46.55,7.975,47,9.2), (-0.555,8.415,9.475,8.865), (16.445,8.415,26.475,8.865), (34.445,8.415,46.225,8.865), (8.975,8.865,9.475,10.935), (25.975,8.865,26.475,10.935), (37.945,9.2,47,9.7), (57.535,9.4,58.035,12), (17.475,10.485,17.975,11.25), (7.945,11.25,17.975,11.7), (49.445,12,58.035,12.5)])
A(clk_doubler, via3, -0.43, 3.04, 0.2, 0.2, 4, 1, 8.5, 0)
R(clk_doubler, via3, [(32.15,-3.45,32.35,-3.25)])
A(clk_doubler, met4, 4.725, -3.5, 0.48, 0.4, 4, 1, 8.5, 0)
A(clk_doubler, met4, -0.58, 0.75, 0.5, 2.65, 4, 1, 8.5, 0)
R(clk_doubler, met4, [(32,-4,32.5,-3.9), (4.725,-3.9,32.5,-3.5), (32,-3.5,32.5,-3.1)])
clk_doubler.add(gdstk.Reference(cd_c40f, (2,-1)))
clk_doubler.add(gdstk.Reference(cd_starved_inv, (0,0)))
clk_doubler.add(gdstk.Reference(cd_c40f, (10.5,-1)))
clk_doubler.add(gdstk.Reference(cd_starved_inv, (8.5,0)))
clk_doubler.add(gdstk.Reference(cd_c40f, (19,-1)))
clk_doubler.add(gdstk.Reference(cd_starved_inv, (17,0)))
clk_doubler.add(gdstk.Reference(cd_c40f, (27.5,-1)))
clk_doubler.add(gdstk.Reference(cd_starved_inv, (25.5,0)))
clk_doubler.add(gdstk.Reference(cd_inv, (35,0)))
clk_doubler.add(gdstk.Reference(cd_inv, (38.5,0)))
clk_doubler.add(gdstk.Reference(cd_tg2, (43,0)))
clk_doubler.add(gdstk.Reference(cd_nand2, (50,0)))
clk_doubler.add(gdstk.Reference(cd_obuf, (57.5,0)))
clk_doubler.add(gdstk.Label('clkin', (-0.75,5.975), layer=70, texttype=5))
clk_doubler.add(gdstk.Label('clkout', (58.25,10.975), layer=69, texttype=5))
clk_doubler.add(gdstk.Label('en', (53.785,4), layer=70, texttype=5))
clk_doubler.add(gdstk.Label('vbias_n', (-0.75,7), layer=70, texttype=5))
clk_doubler.add(gdstk.Label('VDD', (15,11.33), layer=68, texttype=5))
clk_doubler.add(gdstk.Label('VSS', (15,3.215), layer=68, texttype=5))

lib.write_gds('clk_doubler.gds')
